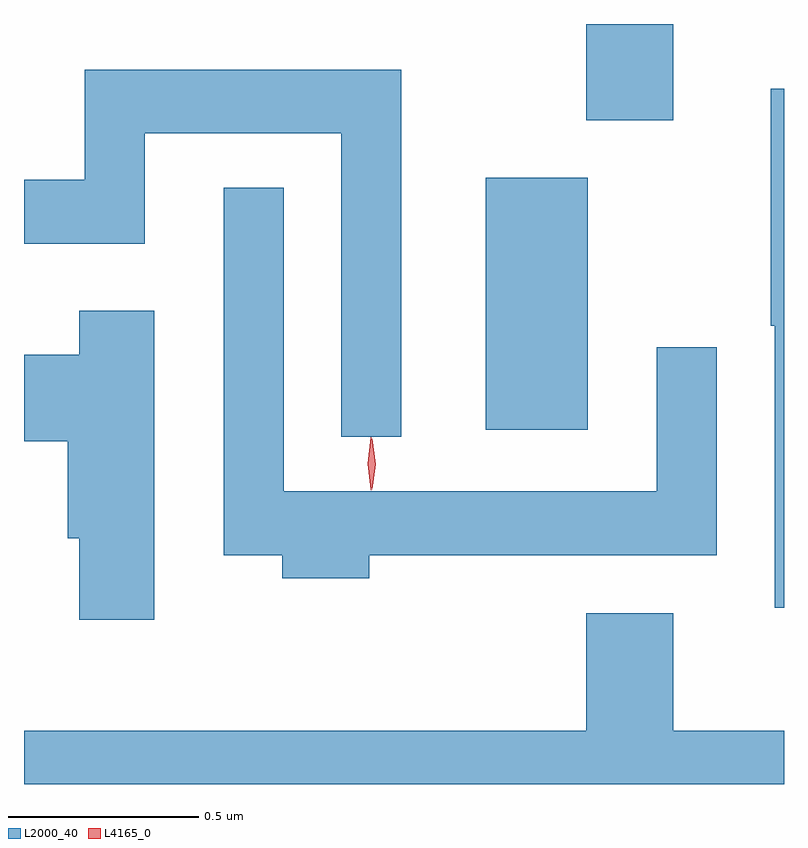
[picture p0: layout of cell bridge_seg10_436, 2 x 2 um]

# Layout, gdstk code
import gdstk
lib = gdstk.Library(unit=1e-6, precision=1e-09)
def R(c, l, rs):  # rectangles x0, y0, x1, y1
    for r in rs: c.add(gdstk.rectangle(r[:2], r[2:], *l))
def P(c, l, *ps):  # polygons
    for p in ps: c.add(gdstk.Polygon(p, *l))
L2000_40 = (2000, 40)
L4165_0 = (4165, 0)

bridge_seg10_436 = lib.new_cell('bridge_seg10_436')
R(bridge_seg10_436, L2000_40, [(1371.506,2099.436,1371.774,2100.099), (1371.771,2100.251,1371.999,2100.504)])
P(bridge_seg10_436, L2000_40, [(1371.284,2100.384),(1370.451,2100.384),(1370.451,2100.094),(1370.291,2100.094),(1370.291,2099.926),(1370.609,2099.926),(1370.609,2100.216),(1371.126,2100.216),(1371.126,2099.418),(1371.284,2099.418)],
  [(1372.291,2100.334),(1372.256,2100.334),(1372.256,2099.71),(1372.266,2099.71),(1372.266,2098.968),(1372.291,2098.968)],
  [(1371.199,2099.106),(1372.114,2099.106),(1372.114,2099.653),(1371.956,2099.653),(1371.956,2099.274),(1370.974,2099.274),(1370.974,2100.073),(1370.816,2100.073),(1370.816,2099.106),(1370.971,2099.106),(1370.971,2099.046),(1371.199,2099.046)],
  [(1370.634,2099.749),(1370.436,2099.749),(1370.436,2099.634),(1370.291,2099.634),(1370.291,2099.406),(1370.406,2099.406),(1370.406,2099.151),(1370.436,2099.151),(1370.436,2098.936),(1370.634,2098.936)],
  [(1372.291,2098.644),(1371.999,2098.644),(1371.999,2098.954),(1371.771,2098.954),(1371.771,2098.644),(1370.291,2098.644),(1370.291,2098.504),(1372.291,2098.504)])
P(bridge_seg10_436, L4165_0, [(1371.205,2099.277),(1371.204,2099.278),(1371.195,2099.347),(1371.204,2099.416),(1371.205,2099.416),(1371.205,2099.416),(1371.215,2099.347),(1371.205,2099.278)],
  [(1371.207,2099.28),(1371.207,2099.28),(1371.197,2099.346),(1371.207,2099.412),(1371.207,2099.413),(1371.208,2099.412),(1371.217,2099.346),(1371.208,2099.28)])

lib.write_gds('bridge_seg10_436.gds')
